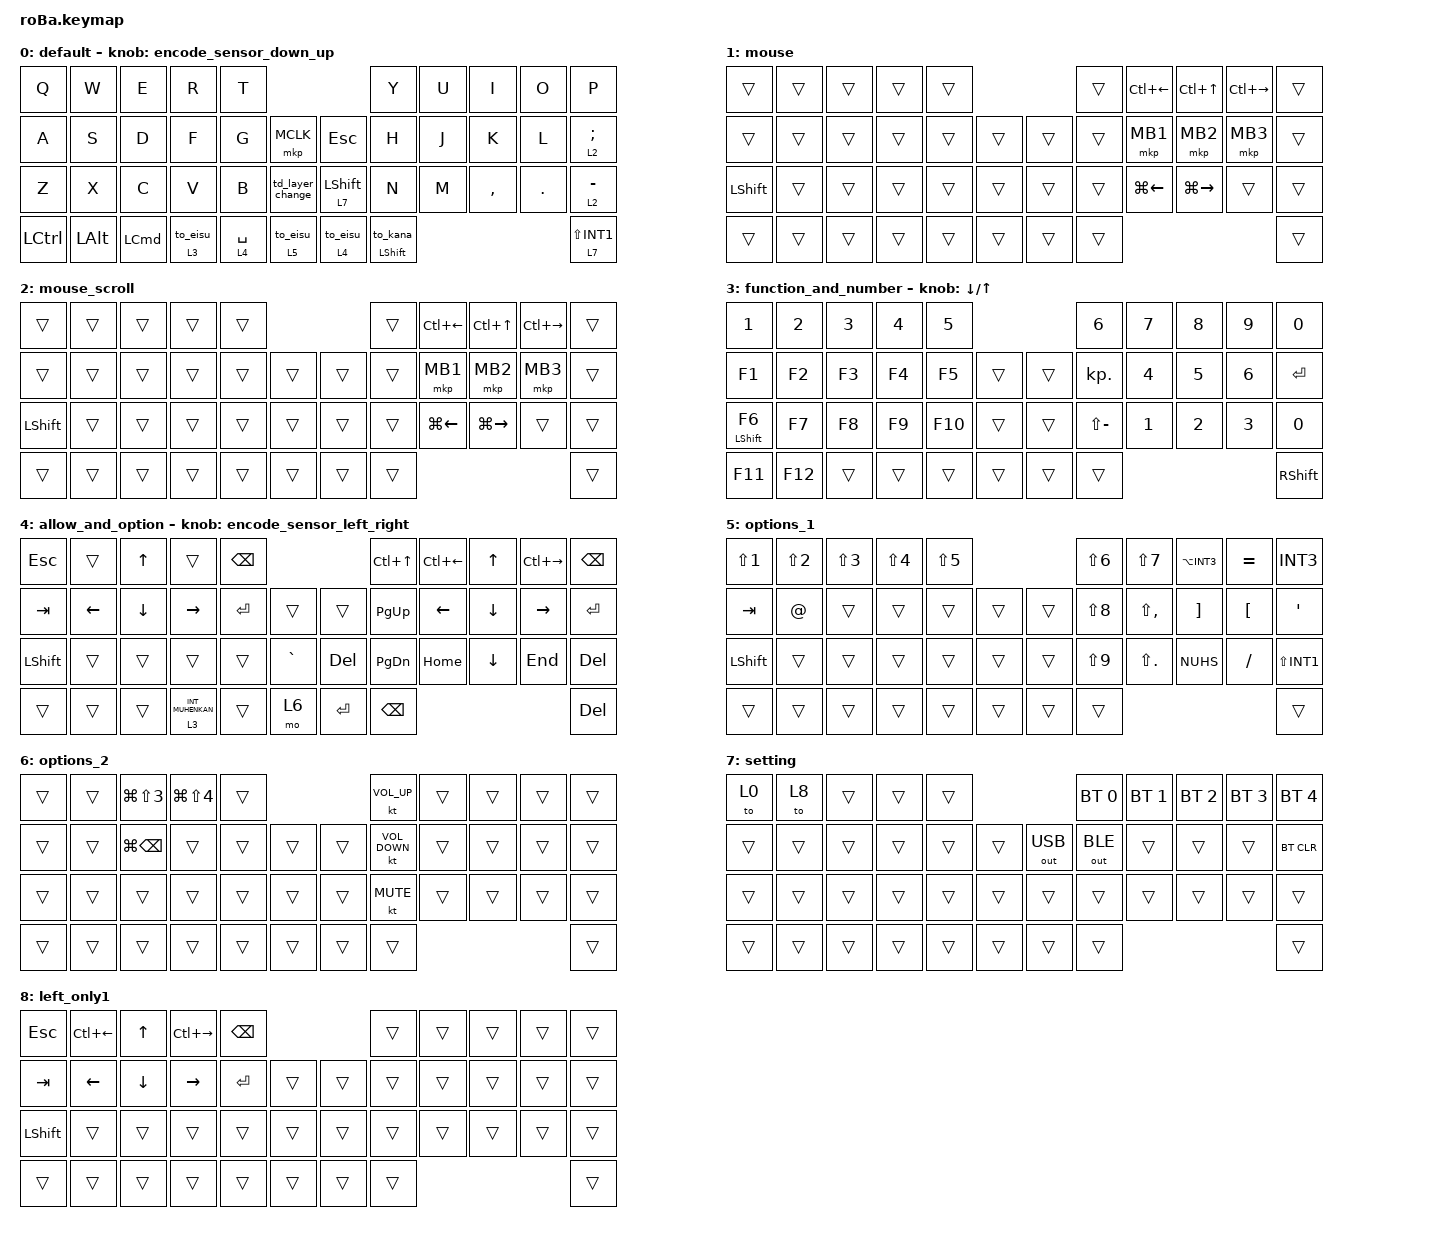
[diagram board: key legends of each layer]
#define ENCODER_SENSOR_SCRL_VAL 240

// OS設定を日本語キーボードのまま使用するための変換定義

#define JP_ZKHK  GRAVE        // Zenkaku ↔ Hankaku ↔ Kanji (半角 ↔ 全角 ↔ 漢字)
#define JP_MINUS MINUS        // -
#define JP_CARET EQUAL        // ^
#define JP_YEN   INT3         // ¥
#define JP_AT    LBKT         // @
#define JP_LBKT  RBKT         // [
#define JP_EISU  CAPS         // Eisū (英数)
#define JP_SEMI  SEMI         // ;
#define JP_COLON SQT          // :
#define JP_RBKT  NUHS         // ]
#define JP_COMMA COMMA        // ,
#define JP_DOT   DOT          // .
#define JP_SLASH SLASH        // /

// #define JP_BSLH  INT1      // (backslash)

#define JP_BSLH  LA(INT3)     // \(backslash)
#define JP_MHEN  INT5         // Muhenkan (無変換)
#define JP_HENK  INT4         // Henkan (変換)
#define JP_KANA  INT2         // Katakana ↔ Hiragana ↔ Rōmaji (カタカナ ↔ ひらがな ↔ ローマ字)
#define JP_EXCL  LS(N1)       // !
#define JP_DQT   LS(N2)       // "
#define JP_HASH  LS(N3)       // #
#define JP_DLLR  LS(N4)       // $
#define JP_PRCNT LS(N5)       // %
#define JP_AMPS  LS(N6)       // &
#define JP_SQT   LS(N7)       // '
#define JP_LPAR  LS(N8)       // (
#define JP_RPAR  LS(N9)       // )
#define JP_EQUAL LS(JP_MINUS) // =
#define JP_TILDE LS(JP_CARET) // ~
#define JP_PIPE  LS(JP_YEN)   // |
#define JP_GRAVE LS(JP_AT)    // `
#define JP_LBRC  LS(JP_LBKT)  // {
#define JP_CAPS  LS(JP_EISU)  // Caps Lock
#define JP_PLUS  LS(JP_SEMI)  // +
#define JP_ASTRK LS(JP_COLON) // *
#define JP_RBRC  LS(JP_RBKT)  // }
#define JP_LT    LS(JP_COMMA) // <
#define JP_RT    LS(JP_DOT)   // >
#define JP_QMARK LS(JP_SLASH) // ?
#define JP_UNDER LS(INT1)     // _
#define JP_KANA (INT_HENKAN & LANG1) // 変換 + カタカナ/ひらがなキー
#define JP_EISU (INT_MUHENKAN & LANG2) // 無変換 + 英数キー

#include <input/processors.dtsi>
#include <behaviors.dtsi>
#include <dt-bindings/zmk/bt.h>
#include <dt-bindings/zmk/keys.h>
#include <dt-bindings/zmk/outputs.h>
#include <dt-bindings/zmk/pointing.h>

#define ENCODER_SENSOR_UP MOVE_Y(ENCODER_SENSOR_SCRL_VAL)
#define ENCODER_SENSOR_DOWN MOVE_Y(-ENCODER_SENSOR_SCRL_VAL)
#define ENCODER_SENSOR_LEFT MOVE_X(-ENCODER_SENSOR_SCRL_VAL)
#define ENCODER_SENSOR_RIGHT MOVE_X(ENCODER_SENSOR_SCRL_VAL)

&mkp_input_listener { input-processors = <&zip_temp_layer 1 2000>; };

/* 
&trackball {
    automouse-layer = <1>;
    scroll-layers = <2>;

    // arrows {
    //     layers = <3>;
    //     bindings =
    //         <&kp RIGHT_ARROW>,
    //         <&kp LEFT_ARROW>,
    //         <&kp UP_ARROW>,
    //         <&kp DOWN_ARROW>;
    //     tick = <10>;
    //     wait-ms = <5>;
    //     tap-ms = <5>;
    // };
};
*/

&mt {
    flavor = "hold-preferred";
    tapping-term-ms = <500>;
};

&lt {
    tapping-term-ms = <500>;
    flavor = "hold-preferred";
};

&msc {
    x-input-code = <INPUT_REL_HWHEEL>;
    y-input-code = <INPUT_REL_WHEEL>;
    time-to-max-speed-ms = <300>;
    acceleration-exponent = <0>;
};

/ {
    combos {
        compatible = "zmk,combos";

        to_default_layer {
            bindings = <&to 0>;
            key-positions = <34 42>;
        };

        to_options_2 {
            bindings = <&mo 6>;
            key-positions = <38 39>;
        };

        to_number_layer {
            bindings = <&mo 3>;
            key-positions = <40 41>;
        };

        kp_cmd {
            bindings = <&kp LEFT_COMMAND>;
            key-positions = <37 38>;
        };
    };

    behaviors {
        encode_sensor_down_up: encode_sensor_down_up {
            compatible = "zmk,behavior-sensor-rotate";
            label = "ENCODER_SENSOR_DOWN_UP";
            #sensor-binding-cells = <0>;
            bindings = <&msc ENCODER_SENSOR_UP>, <&msc ENCODER_SENSOR_DOWN>;

            tap-ms = <20>;
        };

        encode_sensor_left_right: encode_sensor_left_right {
            compatible = "zmk,behavior-sensor-rotate";
            label = "ENCODE_SENSOR_LEFT_RIGHT";
            #sensor-binding-cells = <0>;
            bindings = <&msc ENCODER_SENSOR_LEFT>, <&msc ENCODER_SENSOR_RIGHT>;

            tap-ms = <20>;
        };

        func_left1: func_left1 {
            compatible = "zmk,behavior-tap-dance";
            label = "FUNC_LEFT1";
            #binding-cells = <0>;
            bindings = <&lt_hold_retro 3 SPACE>;
            tapping-term-ms = <300>;
        };

        func_left2: func_left2 {
            compatible = "zmk,behavior-tap-dance";
            label = "FUNC_LEFT2";
            #binding-cells = <0>;
            bindings = <&lt 4 SPACE>;
            tapping-term-ms = <200>;
        };

        func_left3: func_left3 {
            compatible = "zmk,behavior-tap-dance";
            label = "FUNC_LEFT3";
            #binding-cells = <0>;
            bindings = <&lt 5 LANGUAGE_1>;
            tapping-term-ms = <300>;
        };

        func_right1: func_right1 {
            compatible = "zmk,behavior-tap-dance";
            label = "FUNC_RIGHT1";
            #binding-cells = <0>;
            bindings = <&lt_hold_retro 4 LANG2>, <&kp LANG1>;

            tapping-term-ms = <300>;
        };

        func_right2: func_right2 {
            compatible = "zmk,behavior-tap-dance";
            label = "FUNC_RIGHT2";
            #binding-cells = <0>;
            bindings = <&mt_hold_retro LEFT_SHIFT LANG1>;
            tapping-term-ms = <300>;
        };

        lt_hold_pref: lt_hold_pref {
            compatible = "zmk,behavior-hold-tap";
            label = "LT_HOLD_PREF";
            bindings = <&mo>, <&kp>;

            #binding-cells = <2>;
            tapping-term-ms = <200>;
            flavor = "hold-preferred";
        };

        mt_hold_pref: mt_hold_pref {
            compatible = "zmk,behavior-hold-tap";
            label = "MT_HOLD_PREF";
            bindings = <&kp>, <&kp>;

            #binding-cells = <2>;
            tapping-term-ms = <200>;
            flavor = "hold-preferred";
        };

        mlt_hold_pref: mlt_hold_pref {
            compatible = "zmk,behavior-hold-tap";
            label = "MLT_HOLD_PREF";
            bindings = <&mo>, <&mkp>;

            #binding-cells = <2>;
            tapping-term-ms = <200>;
        };

        td_layer_change: td_layer_change {
            compatible = "zmk,behavior-tap-dance";
            label = "TD_LAYER_CHANGE";
            #binding-cells = <0>;
            bindings = <&to 0>, <&to 8>;
        };

        func_right1_2: func_right1_2 {
            compatible = "zmk,behavior-tap-dance";
            label = "FUNC_RIGHT1_2";
            #binding-cells = <0>;
            bindings = <&kp INT_HENKAN>;
            tapping-term-ms = <200>;
        };

        lt_hold_retro: lt_hold_retro {
            compatible = "zmk,behavior-hold-tap";
            label = "LT_HOLD_RETRO";
            bindings = <&mo>, <&kp>;

            #binding-cells = <2>;
            tapping-term-ms = <200>;
            flavor = "hold-preferred";
            retro-tap;
        };

        mt_hold_retro: mt_hold_retro {
            compatible = "zmk,behavior-hold-tap";
            label = "MT_HOLD_RETRO";
            bindings = <&kp>, <&kp>;

            #binding-cells = <2>;
            tapping-term-ms = <200>;
            flavor = "hold-preferred";
            retro-tap;
        };

        func_right2_2: func_right2_2 {
            compatible = "zmk,behavior-tap-dance";
            label = "FUNC_RIGHT2_2";
            #binding-cells = <0>;
            bindings = <&mt_hold_retro LEFT_SHIFT INT_MUHENKAN>;
            tapping-term-ms = <300>;
        };

        lt_eisu: lt_eisu {
            compatible = "zmk,behavior-hold-tap";
            label = "LT_EISU";
            bindings = <&mo>, <&to_eisu>;

            #binding-cells = <2>;
            tapping-term-ms = <200>;
        };

        lt_kana: lt_kana {
            compatible = "zmk,behavior-hold-tap";
            label = "LT_KANA";
            bindings = <&mo>, <&to_kana>;

            #binding-cells = <2>;
            tapping-term-ms = <200>;
        };

        mt_eisu: mt_eisu {
            compatible = "zmk,behavior-hold-tap";
            label = "MT_EISU";
            bindings = <&kp>, <&to_eisu>;

            #binding-cells = <2>;
            tapping-term-ms = <200>;
        };

        mt_kana: mt_kana {
            compatible = "zmk,behavior-hold-tap";
            label = "MT_KANA";
            bindings = <&kp>, <&to_kana>;

            #binding-cells = <2>;
            tapping-term-ms = <200>;
        };
    };

    macros {
        to_eisu: to_eisu {
            compatible = "zmk,behavior-macro";
            #binding-cells = <0>;
            bindings = <&kp LANG2 &kp INT_MUHENKAN>;
            label = "TO_EISU";
        };

        to_kana: to_kana {
            compatible = "zmk,behavior-macro";
            #binding-cells = <0>;
            bindings = <&kp LANGUAGE_1 &kp INT_HENKAN>;
            label = "TO_KANA";
        };
    };

    keymap {
        compatible = "zmk,keymap";

        default {
            bindings = <
&kp Q      &kp W         &kp E             &kp R         &kp T                                                &kp Y                  &kp U  &kp I      &kp O    &kp P
&kp A      &kp S         &kp D             &kp F         &kp G        &mkp MCLK             &kp ESC           &kp H                  &kp J  &kp K      &kp L    &lt_hold_pref 2 SEMICOLON
&kp Z      &kp X         &kp C             &kp V         &kp B        &td_layer_change      &lt 7 LEFT_SHIFT  &kp N                  &kp M  &kp COMMA  &kp DOT  &lt_hold_pref 2 MINUS
&kp LCTRL  &kp LEFT_ALT  &kp LEFT_COMMAND  &lt_eisu 3 0  &lt 4 SPACE  &lt_eisu 5 0          &lt_eisu 4 0      &mt_kana LEFT_SHIFT 0                             &lt_hold_pref 7 JP_UNDER
            >;

            sensor-bindings = <&encode_sensor_down_up>;
        };

        mouse {
            bindings = <
&trans          &trans  &trans  &trans  &trans                      &trans  &kp LC(LEFT)  &kp LC(UP)     &kp LC(RIGHT)  &trans
&trans          &trans  &trans  &trans  &trans  &trans      &trans  &trans  &mkp MB1      &mkp MB2       &mkp MB3       &trans
&kp LEFT_SHIFT  &trans  &trans  &trans  &trans  &trans      &trans  &trans  &kp LG(LEFT)  &kp LG(RIGHT)  &trans         &trans
&trans          &trans  &trans  &trans  &trans  &trans      &trans  &trans                                              &trans
            >;
        };

        mouse_scroll {
            bindings = <
&trans          &trans  &trans  &trans  &trans                      &trans  &kp LC(LEFT)  &kp LC(UP)     &kp LC(RIGHT)  &trans
&trans          &trans  &trans  &trans  &trans  &trans      &trans  &trans  &mkp MB1      &mkp MB2       &mkp MB3       &trans
&kp LEFT_SHIFT  &trans  &trans  &trans  &trans  &trans      &trans  &trans  &kp LG(LEFT)  &kp LG(RIGHT)  &trans         &trans
&trans          &trans  &trans  &trans  &trans  &trans      &trans  &trans                                              &trans
            >;
        };

        function_and_number {
            bindings = <
&kp NUMBER_1                 &kp N2   &kp N3  &kp N4  &kp N5                       &kp N6         &kp N7  &kp N8  &kp N9  &kp NUMBER_0
&kp F1                       &kp F2   &kp F3  &kp F4  &kp F5   &trans      &trans  &kp KP_DOT     &kp N4  &kp N5  &kp N6  &kp ENTER
&mt_hold_pref LEFT_SHIFT F6  &kp F7   &kp F8  &kp F9  &kp F10  &trans      &trans  &kp LS(MINUS)  &kp N1  &kp N2  &kp N3  &kp NUMBER_0
&kp F11                      &kp F12  &trans  &trans  &trans   &trans      &trans  &trans                                 &kp RIGHT_SHIFT
            >;

            sensor-bindings = <&inc_dec_kp DOWN_ARROW UP_ARROW>;
        };

        allow_and_option {
            bindings = <
&kp ESC         &trans    &kp UP    &trans                         &kp BACKSPACE                               &kp LC(UP_ARROW)  &kp LC(LEFT)  &kp UP_ARROW    &kp LC(RIGHT)  &kp BACKSPACE
&kp TAB         &kp LEFT  &kp DOWN  &kp RIGHT                      &kp ENTER      &trans           &trans      &kp PG_UP         &kp LEFT      &kp DOWN_ARROW  &kp RIGHT      &kp ENTER
&kp LEFT_SHIFT  &trans    &trans    &trans                         &trans         &kp JP_ZKHK      &kp DELETE  &kp PG_DN         &kp HOME      &kp DOWN        &kp END        &kp DELETE
&trans          &trans    &trans    &lt_hold_retro 3 INT_MUHENKAN  &trans         &mo 6            &kp ENTER   &kp BACKSPACE                                                  &kp DELETE
            >;

            sensor-bindings = <&encode_sensor_left_right>;
        };

        options_1 {
            bindings = <
&kp LS(NUMBER_1)  &kp LS(NUMBER_2)  &kp LS(NUMBER_3)  &kp LS(NUMBER_4)  &kp LS(NUMBER_5)                      &kp LS(NUMBER_6)  &kp LS(NUMBER_7)  &kp JP_BSLH  &kp JP_CARET  &kp JP_YEN
&kp TAB           &kp AT_SIGN       &trans            &trans            &trans            &trans      &trans  &kp LS(NUMBER_8)  &kp LS(COMMA)     &kp JP_LBKT  &kp JP_AT     &kp JP_COLON
&kp LEFT_SHIFT    &trans            &trans            &trans            &trans            &trans      &trans  &kp LS(NUMBER_9)  &kp LS(PERIOD)    &kp JP_RBKT  &kp JP_SLASH  &kp JP_UNDER
&trans            &trans            &trans            &trans            &trans            &trans      &trans  &trans                                                         &trans
            >;
        };

        options_2 {
            bindings = <
&trans  &trans  &kp LG(LS(NUMBER_3))  &kp LG(LS(NUMBER_4))  &trans                      &kt C_VOLUME_UP    &trans  &trans  &trans  &trans
&trans  &trans  &kp LG(BACKSPACE)     &trans                &trans  &trans      &trans  &kt C_VOLUME_DOWN  &trans  &trans  &trans  &trans
&trans  &trans  &trans                &trans                &trans  &trans      &trans  &kt K_MUTE         &trans  &trans  &trans  &trans
&trans  &trans  &trans                &trans                &trans  &trans      &trans  &trans                                     &trans
            >;
        };

        setting {
            bindings = <
&to 0   &to 8   &trans  &trans  &trans                            &bt BT_SEL 0  &bt BT_SEL 1  &bt BT_SEL 2  &bt BT_SEL 3  &bt BT_SEL 4
&trans  &trans  &trans  &trans  &trans  &trans      &out OUT_USB  &out OUT_BLE  &trans        &trans        &trans        &bt BT_CLR
&trans  &trans  &trans  &trans  &trans  &trans      &trans        &trans        &trans        &trans        &trans        &trans
&trans  &trans  &trans  &trans  &trans  &trans      &trans        &trans                                                  &trans
            >;
        };

        left_only1 {
            bindings = <
&kp ESCAPE      &kp LC(LEFT)  &kp UP    &kp LC(RIGHT)  &kp BACKSPACE                      &trans  &trans  &trans  &trans  &trans
&kp TAB         &kp LEFT      &kp DOWN  &kp RIGHT      &kp ENTER      &trans      &trans  &trans  &trans  &trans  &trans  &trans
&kp LEFT_SHIFT  &trans        &trans    &trans         &trans         &trans      &trans  &trans  &trans  &trans  &trans  &trans
&trans          &trans        &trans    &trans         &trans         &trans      &trans  &trans                          &trans
            >;
        };
    };

    conditional_layers { compatible = "zmk,conditional-layers"; };
};
